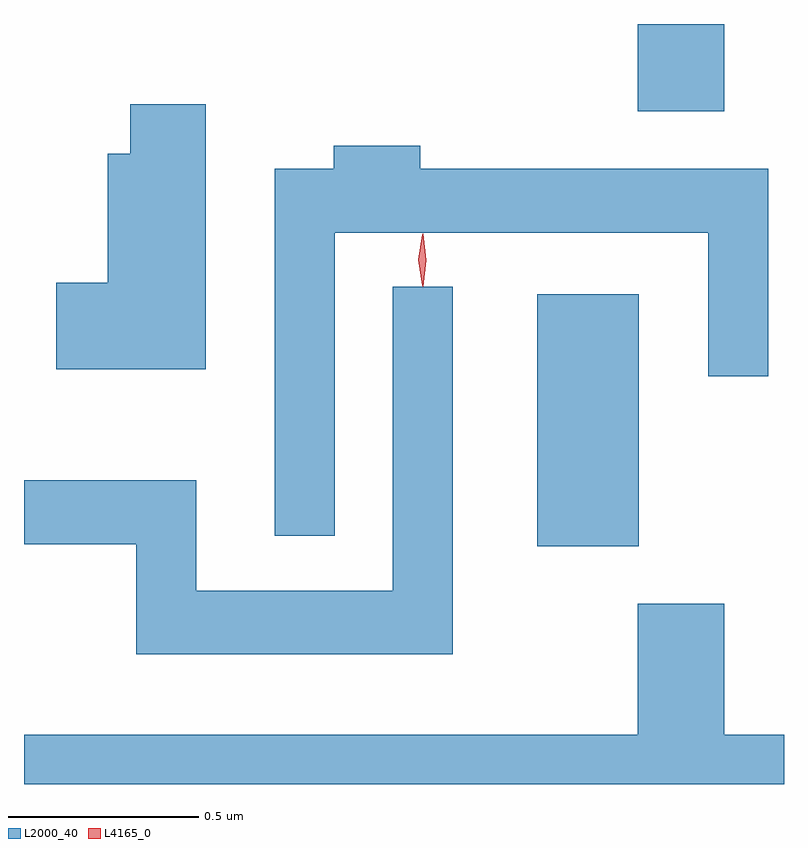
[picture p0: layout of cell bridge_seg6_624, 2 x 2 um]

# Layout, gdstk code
import gdstk
lib = gdstk.Library(unit=1e-6, precision=1e-09)
def R(c, l, rs):  # rectangles x0, y0, x1, y1
    for r in rs: c.add(gdstk.rectangle(r[:2], r[2:], *l))
def P(c, l, *ps):  # polygons
    for p in ps: c.add(gdstk.Polygon(p, *l))
L2000_40 = (2000, 40)
L4165_0 = (4165, 0)

bridge_seg6_624 = lib.new_cell('bridge_seg6_624')
R(bridge_seg6_624, L2000_40, [(409.506,1608.521,409.774,1609.184), (409.771,1609.666,409.999,1609.895)])
P(bridge_seg6_624, L2000_40, [(408.634,1609.684),(408.436,1609.684),(408.436,1609.554),(408.376,1609.554),(408.376,1609.214),(408.241,1609.214),(408.241,1608.986),(408.634,1608.986)],
  [(408.974,1609.346),(409.956,1609.346),(409.956,1608.968),(410.114,1608.968),(410.114,1609.514),(409.199,1609.514),(409.199,1609.574),(408.971,1609.574),(408.971,1609.514),(408.816,1609.514),(408.816,1608.548),(408.974,1608.548)],
  [(409.284,1609.203),(409.126,1609.203),(409.126,1608.404),(408.609,1608.404),(408.609,1608.694),(408.156,1608.694),(408.156,1608.526),(408.451,1608.526),(408.451,1608.236),(409.284,1608.236)],
  [(410.156,1608.024),(409.999,1608.024),(409.999,1608.369),(409.771,1608.369),(409.771,1608.024),(408.156,1608.024),(408.156,1607.895),(410.156,1607.895)])
P(bridge_seg6_624, L4165_0, [(409.205,1609.204),(409.205,1609.204),(409.195,1609.273),(409.205,1609.343),(409.205,1609.343),(409.206,1609.343),(409.215,1609.273),(409.206,1609.204)],
  [(409.204,1609.207),(409.204,1609.207),(409.194,1609.274),(409.204,1609.34),(409.204,1609.341),(409.204,1609.34),(409.214,1609.274),(409.204,1609.207)])

lib.write_gds('bridge_seg6_624.gds')
